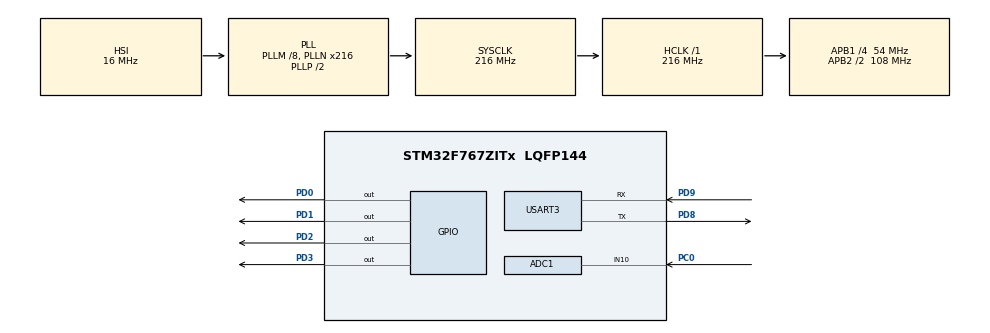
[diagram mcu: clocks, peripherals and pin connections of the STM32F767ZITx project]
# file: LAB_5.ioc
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ADC1.Channel-0\#ChannelRegularConversion=ADC_CHANNEL_10
ADC1.ContinuousConvMode=ENABLE
ADC1.DataAlign=ADC_DATAALIGN_RIGHT
ADC1.EOCSelection=ADC_EOC_SEQ_CONV
ADC1.NbrOfConversionFlag=1
ADC1.Rank-0\#ChannelRegularConversion=1
ADC1.SamplingTime-0\#ChannelRegularConversion=ADC_SAMPLETIME_3CYCLES
ADC1.master=1
CORTEX_M7.default_mode_Activation=1
Mcu.Family=STM32F7
Mcu.Name=STM32F767ZITx
Mcu.Package=LQFP144
NVIC.PriorityGroup=NVIC_PRIORITYGROUP_4
PC0.Signal=ADCx_IN10
PD0.Signal=GPIO_Output
PD1.Signal=GPIO_Output
PD2.Signal=GPIO_Output
PD3.Signal=GPIO_Output
PD8.Mode=Asynchronous
PD8.Signal=USART3_TX
PD9.Mode=Asynchronous
PD9.Signal=USART3_RX
ProjectManager.HeapSize=0x200
ProjectManager.StackSize=0x400
ProjectManager.TargetToolchain=STM32CubeIDE
RCC.AHBFreq_Value=216000000
RCC.APB1CLKDivider=RCC_HCLK_DIV4
RCC.APB1Freq_Value=54000000
RCC.APB1TimFreq_Value=108000000
RCC.APB2CLKDivider=RCC_HCLK_DIV2
RCC.APB2Freq_Value=108000000
RCC.APB2TimFreq_Value=216000000
RCC.CortexFreq_Value=216000000
RCC.HCLKFreq_Value=216000000
RCC.HSE_VALUE=25000000
RCC.HSI_VALUE=16000000
RCC.LSE_VALUE=32768
RCC.PLLM=8
RCC.PLLN=216
RCC.SYSCLKFreq_VALUE=216000000
RCC.SYSCLKSource=RCC_SYSCLKSOURCE_PLLCLK
RCC.USBFreq_Value=216000000
RCC.VCOOutputFreq_Value=432000000
SH.ADCx_IN10.0=ADC1_IN10,IN10
USART3.VirtualMode-Asynchronous=VM_ASYNC
board=custom

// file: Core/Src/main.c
/* USER CODE BEGIN Header */
/**
  ******************************************************************************
  * @file           : main.c
  * @brief          : Main program body
  ******************************************************************************
  * @attention
  *
  * Copyright (c) 2026 STMicroelectronics.
  * All rights reserved.
  *
  * This software is licensed under terms that can be found in the LICENSE file
  * in the root directory of this software component.
  * If no LICENSE file comes with this software, it is provided AS-IS.
  *
  ******************************************************************************
  */
/* USER CODE END Header */
#include "main.h"

/* USER CODE BEGIN Includes */
#include "string.h"
#include "stdio.h"
#include "inttypes.h"
#include "math.h"
/* USER CODE END Includes */

ADC_HandleTypeDef hadc1;

UART_HandleTypeDef huart3;

/* USER CODE BEGIN PV */
volatile uint32_t adc_val = 0;
int adc_avg_8 = 0;
int adc_avg_16 = 0;
/* USER CODE END PV */

void SystemClock_Config(void);
static void MPU_Config(void);
static void MX_GPIO_Init(void);
static void MX_ADC1_Init(void);
static void MX_USART3_UART_Init(void);
/* USER CODE BEGIN PFP */
void displayHEX(uint32_t);
int average_8(int);
int average_16(int);
void displayLED(uint32_t);
/* USER CODE END PFP */

int main(void)
{

  /* MPU Configuration--------------------------------------------------------*/
  MPU_Config();

  /* MCU Configuration--------------------------------------------------------*/

  /* Reset of all peripherals, Initializes the Flash interface and the Systick. */
  HAL_Init();

  /* Configure the system clock */
  SystemClock_Config();

  /* Initialize all configured peripherals */
  MX_GPIO_Init();
  MX_ADC1_Init();
  MX_USART3_UART_Init();
  /* USER CODE BEGIN 2 */
  HAL_ADC_Start(&hadc1);
  /* USER CODE END 2 */

  /* Infinite loop */
  while (1)
  {

    /* USER CODE BEGIN 3 */
	  while (HAL_ADC_PollForConversion(&hadc1, 100) != HAL_OK) {}
	  adc_val = HAL_ADC_GetValue(&hadc1);
	  adc_avg_8 = average_8(adc_val);
	  adc_avg_16 = average_16(adc_val);
	  displayHEX(adc_val);
	  displayLED(adc_val);

	  HAL_Delay(400);
  }
  /* USER CODE END 3 */
}

void SystemClock_Config(void)
{
  RCC_OscInitTypeDef RCC_OscInitStruct = {0};
  RCC_ClkInitTypeDef RCC_ClkInitStruct = {0};

  /** Configure the main internal regulator output voltage
  */
  __HAL_RCC_PWR_CLK_ENABLE();
  __HAL_PWR_VOLTAGESCALING_CONFIG(PWR_REGULATOR_VOLTAGE_SCALE1);

  /** Initializes the RCC Oscillators according to the specified parameters
  * in the RCC_OscInitTypeDef structure.
  */
  RCC_OscInitStruct.OscillatorType = RCC_OSCILLATORTYPE_HSI;
  RCC_OscInitStruct.HSIState = RCC_HSI_ON;
  RCC_OscInitStruct.HSICalibrationValue = RCC_HSICALIBRATION_DEFAULT;
  RCC_OscInitStruct.PLL.PLLState = RCC_PLL_ON;
  RCC_OscInitStruct.PLL.PLLSource = RCC_PLLSOURCE_HSI;
  RCC_OscInitStruct.PLL.PLLM = 8;
  RCC_OscInitStruct.PLL.PLLN = 216;
  RCC_OscInitStruct.PLL.PLLP = RCC_PLLP_DIV2;
  RCC_OscInitStruct.PLL.PLLQ = 2;
  RCC_OscInitStruct.PLL.PLLR = 2;
  if (HAL_RCC_OscConfig(&RCC_OscInitStruct) != HAL_OK)
  {
    Error_Handler();
  }

  /** Activate the Over-Drive mode
  */
  if (HAL_PWREx_EnableOverDrive() != HAL_OK)
  {
    Error_Handler();
  }

  /** Initializes the CPU, AHB and APB buses clocks
  */
  RCC_ClkInitStruct.ClockType = RCC_CLOCKTYPE_HCLK|RCC_CLOCKTYPE_SYSCLK
                              |RCC_CLOCKTYPE_PCLK1|RCC_CLOCKTYPE_PCLK2;
  RCC_ClkInitStruct.SYSCLKSource = RCC_SYSCLKSOURCE_PLLCLK;
  RCC_ClkInitStruct.AHBCLKDivider = RCC_SYSCLK_DIV1;
  RCC_ClkInitStruct.APB1CLKDivider = RCC_HCLK_DIV4;
  RCC_ClkInitStruct.APB2CLKDivider = RCC_HCLK_DIV2;

  if (HAL_RCC_ClockConfig(&RCC_ClkInitStruct, FLASH_LATENCY_7) != HAL_OK)
  {
    Error_Handler();
  }
}

static void MX_ADC1_Init(void)
{

  ADC_ChannelConfTypeDef sConfig = {0};

  /** Configure the global features of the ADC (Clock, Resolution, Data Alignment and number of conversion)
  */
  hadc1.Instance = ADC1;
  hadc1.Init.ClockPrescaler = ADC_CLOCK_SYNC_PCLK_DIV4;
  hadc1.Init.Resolution = ADC_RESOLUTION_12B;
  hadc1.Init.ScanConvMode = ADC_SCAN_DISABLE;
  hadc1.Init.ContinuousConvMode = ENABLE;
  hadc1.Init.DiscontinuousConvMode = DISABLE;
  hadc1.Init.ExternalTrigConvEdge = ADC_EXTERNALTRIGCONVEDGE_NONE;
  hadc1.Init.ExternalTrigConv = ADC_SOFTWARE_START;
  hadc1.Init.DataAlign = ADC_DATAALIGN_RIGHT;
  hadc1.Init.NbrOfConversion = 1;
  hadc1.Init.DMAContinuousRequests = DISABLE;
  hadc1.Init.EOCSelection = ADC_EOC_SEQ_CONV;
  if (HAL_ADC_Init(&hadc1) != HAL_OK)
  {
    Error_Handler();
  }

  /** Configure for the selected ADC regular channel its corresponding rank in the sequencer and its sample time.
  */
  sConfig.Channel = ADC_CHANNEL_10;
  sConfig.Rank = ADC_REGULAR_RANK_1;
  sConfig.SamplingTime = ADC_SAMPLETIME_3CYCLES;
  if (HAL_ADC_ConfigChannel(&hadc1, &sConfig) != HAL_OK)
  {
    Error_Handler();
  }

}

static void MX_USART3_UART_Init(void)
{

  huart3.Instance = USART3;
  huart3.Init.BaudRate = 115200;
  huart3.Init.WordLength = UART_WORDLENGTH_8B;
  huart3.Init.StopBits = UART_STOPBITS_1;
  huart3.Init.Parity = UART_PARITY_NONE;
  huart3.Init.Mode = UART_MODE_TX_RX;
  huart3.Init.HwFlowCtl = UART_HWCONTROL_NONE;
  huart3.Init.OverSampling = UART_OVERSAMPLING_16;
  huart3.Init.OneBitSampling = UART_ONE_BIT_SAMPLE_DISABLE;
  huart3.AdvancedInit.AdvFeatureInit = UART_ADVFEATURE_NO_INIT;
  if (HAL_UART_Init(&huart3) != HAL_OK)
  {
    Error_Handler();
  }

}

static void MX_GPIO_Init(void)
{
  GPIO_InitTypeDef GPIO_InitStruct = {0};

  /* GPIO Ports Clock Enable */
  __HAL_RCC_GPIOC_CLK_ENABLE();
  __HAL_RCC_GPIOD_CLK_ENABLE();

  /*Configure GPIO pin Output Level */
  HAL_GPIO_WritePin(GPIOD, GPIO_PIN_0|GPIO_PIN_1|GPIO_PIN_2|GPIO_PIN_3, GPIO_PIN_RESET);

  /*Configure GPIO pins : PD0 PD1 PD2 PD3 */
  GPIO_InitStruct.Pin = GPIO_PIN_0|GPIO_PIN_1|GPIO_PIN_2|GPIO_PIN_3;
  GPIO_InitStruct.Mode = GPIO_MODE_OUTPUT_PP;
  GPIO_InitStruct.Pull = GPIO_NOPULL;
  GPIO_InitStruct.Speed = GPIO_SPEED_FREQ_LOW;
  HAL_GPIO_Init(GPIOD, &GPIO_InitStruct);

}

/* USER CODE BEGIN 4 */
void displayHEX(uint32_t hex1){
	char hex_string[24];
	sprintf(hex_string, "\r\nADC1_CH10 0x%08" PRIX32, hex1);

	float volt_mapping = (hex1 / (pow(2, 12) - 1)) * 3.3;
	char vin_string[20];
	sprintf(vin_string, " Vin = %.2f V\r\n", volt_mapping);

	while (__HAL_UART_GET_FLAG(&huart3, UART_FLAG_TC) == 0){}
	HAL_UART_Transmit(&huart3, (uint8_t*)hex_string, strlen(hex_string), 1000);
	HAL_UART_Transmit(&huart3, (uint8_t*)vin_string, strlen(vin_string), 1000);

//	char test_string[20];
//	sprintf(test_string, "Value = %d \r\n" PRIu32, hex1);
//	HAL_UART_Transmit(&huart3, (uint8_t*)test_string, strlen(test_string), 1000);
}

void displayLED(uint32_t hex1){
	uint8_t level = (hex1*5) / 4096;

	if (level == 0)
	{
		GPIOD->BSRR = 0xFFFF0000;
	}
	else if (level == 1)
	{
		GPIOD->BSRR = 0xFFFF0001;
	}
	else if (level == 2)
	{
		GPIOD->BSRR = 0xFFFF0003;
	}
	else if (level == 3)
	{
		GPIOD->BSRR = 0xFFFF0007;
	}
	else
	{
		GPIOD->BSRR = 0xFFFF000F;
	}

	char level_string[14];
	sprintf(level_string, "Level = %d\r\n", level);

	while (__HAL_UART_GET_FLAG(&huart3, UART_FLAG_TC) == 0){}
	HAL_UART_Transmit(&huart3, (uint8_t*)level_string, strlen(level_string), 1000);
}

int average_8(int x) {
	static int samples[8];
	static int i = 0;
	static int total = 0;

	total += x - samples[i];
	samples[i] = x;

	i = (i==7 ? 0 : i+1);

	return total >> 3;
}

int average_16(int x) {
	static int samples[16];
	static int i = 0;
	static int total = 0;

	total += x - samples[i];
	samples[i] = x;

	i = (i==15 ? 0 : i+1);

	return total >> 4;
}
/* USER CODE END 4 */

 /* MPU Configuration */

void MPU_Config(void)
{
  MPU_Region_InitTypeDef MPU_InitStruct = {0};

  /* Disables the MPU */
  HAL_MPU_Disable();

  /** Initializes and configures the Region and the memory to be protected
  */
  MPU_InitStruct.Enable = MPU_REGION_ENABLE;
  MPU_InitStruct.Number = MPU_REGION_NUMBER0;
  MPU_InitStruct.BaseAddress = 0x0;
  MPU_InitStruct.Size = MPU_REGION_SIZE_4GB;
  MPU_InitStruct.SubRegionDisable = 0x87;
  MPU_InitStruct.TypeExtField = MPU_TEX_LEVEL0;
  MPU_InitStruct.AccessPermission = MPU_REGION_NO_ACCESS;
  MPU_InitStruct.DisableExec = MPU_INSTRUCTION_ACCESS_DISABLE;
  MPU_InitStruct.IsShareable = MPU_ACCESS_SHAREABLE;
  MPU_InitStruct.IsCacheable = MPU_ACCESS_NOT_CACHEABLE;
  MPU_InitStruct.IsBufferable = MPU_ACCESS_NOT_BUFFERABLE;

  HAL_MPU_ConfigRegion(&MPU_InitStruct);
  /* Enables the MPU */
  HAL_MPU_Enable(MPU_PRIVILEGED_DEFAULT);

}

void Error_Handler(void)
{
  __disable_irq();
  while (1)
  {
  }
}
